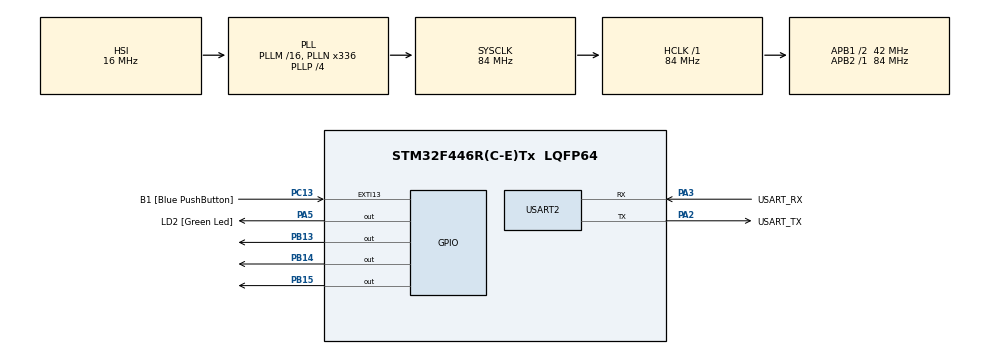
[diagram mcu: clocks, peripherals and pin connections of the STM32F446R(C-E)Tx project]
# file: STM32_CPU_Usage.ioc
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FREERTOS.Tasks01=defaultTask,0,128,StartDefaultTask,Default,NULL,Dynamic,NULL,NULL
FREERTOS.configUSE_NEWLIB_REENTRANT=1
Mcu.Family=STM32F4
Mcu.Name=STM32F446R(C-E)Tx
Mcu.Package=LQFP64
NVIC.PriorityGroup=NVIC_PRIORITYGROUP_4
NVIC.TIM2_IRQn=true\:5\:0\:false\:false\:true\:true\:true\:true\:true
NVIC.TIM6_DAC_IRQn=true\:15\:0\:false\:false\:true\:false\:false\:true\:true
NVIC.TimeBase=TIM6_DAC_IRQn
NVIC.TimeBaseIP=TIM6
PA13.GPIO_Label=TMS
PA13.Signal=SYS_JTMS-SWDIO
PA14.GPIO_Label=TCK
PA14.Signal=SYS_JTCK-SWCLK
PA2.GPIO_Label=USART_TX
PA2.Mode=Asynchronous
PA2.Signal=USART2_TX
PA3.GPIO_Label=USART_RX
PA3.Mode=Asynchronous
PA3.Signal=USART2_RX
PA5.GPIO_Label=LD2 [Green Led]
PA5.Signal=GPIO_Output
PB13.Signal=GPIO_Output
PB14.Signal=GPIO_Output
PB15.Signal=GPIO_Output
PB3.GPIO_Label=SWO
PB3.Signal=SYS_JTDO-SWO
PC13.GPIO_Label=B1 [Blue PushButton]
PC13.GPIO_ModeDefaultEXTI=GPIO_MODE_IT_FALLING
PC13.Signal=GPXTI13
PC14-OSC32_IN.Signal=RCC_OSC32_IN
PC15-OSC32_OUT.Signal=RCC_OSC32_OUT
PH0-OSC_IN.Signal=RCC_OSC_IN
PH1-OSC_OUT.Signal=RCC_OSC_OUT
ProjectManager.HeapSize=0x200
ProjectManager.StackSize=0x400
ProjectManager.TargetToolchain=STM32CubeIDE
RCC.AHBFreq_Value=84000000
RCC.APB1CLKDivider=RCC_HCLK_DIV2
RCC.APB1Freq_Value=42000000
RCC.APB1TimFreq_Value=84000000
RCC.APB2Freq_Value=84000000
RCC.APB2TimFreq_Value=84000000
RCC.CortexFreq_Value=84000000
RCC.FLatency-AdvancedSettings=FLASH_LATENCY_2
RCC.HCLKFreq_Value=84000000
RCC.HSE_VALUE=8000000
RCC.HSI_VALUE=16000000
RCC.LSE_VALUE=32768
RCC.PLLN=336
RCC.PLLP=RCC_PLLP_DIV4
RCC.SYSCLKFreq_VALUE=84000000
RCC.SYSCLKSource=RCC_SYSCLKSOURCE_PLLCLK
RCC.USBFreq_Value=168000000
RCC.VCOOutputFreq_Value=336000000
TIM2.Channel-Output\ Compare1\ No\ Output=TIM_CHANNEL_1
TIM2.Prescaler=83
USART2.VirtualMode=VM_ASYNC
VP_FREERTOS_VS_CMSIS_V1.Mode=CMSIS_V1
VP_SYS_VS_tim6.Mode=TIM6
VP_TIM2_VS_no_output1.Mode=Output Compare1 No Output
board=NUCLEO-F446RE

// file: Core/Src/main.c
/* USER CODE BEGIN Header */
/**
  ******************************************************************************
  * @file           : main.c
  * @brief          : Main program body
  ******************************************************************************
  * @attention
  *
  * Copyright (c) 2025 STMicroelectronics.
  * All rights reserved.
  *
  * This software is licensed under terms that can be found in the LICENSE file
  * in the root directory of this software component.
  * If no LICENSE file comes with this software, it is provided AS-IS.
  *
  ******************************************************************************
  */
/* USER CODE END Header */

#include "main.h"
#include "cmsis_os.h"

/* USER CODE BEGIN Includes */

#include <stdio.h>
#include <stdio.h>
#include <stdlib.h>
#include <string.h>
#include <stdbool.h>
#include <inttypes.h>
#include "CPU_usage.h"

//this is a small change
/* USER CODE END Includes */

TIM_HandleTypeDef htim2;

UART_HandleTypeDef huart2;

osThreadId defaultTaskHandle;
/* USER CODE BEGIN PV */
volatile uint32_t ulHighFrequencyTimerTicks = 0;
/* USER CODE END PV */

void SystemClock_Config(void);
static void MX_GPIO_Init(void);
static void MX_TIM2_Init(void);
static void MX_USART2_UART_Init(void);
void StartDefaultTask(void const * argument);

/* USER CODE BEGIN PFP */
void dummy_task(void *arg);
void custom_user_printf(char *received_json);
void configureTimerForRunTimeStats(void);
uint32_t getRunTimeCounterValue(void);
/* USER CODE END PFP */

int main(void)
{

  /* USER CODE BEGIN 1 */

	BaseType_t status;

  /* USER CODE END 1 */

  /* MCU Configuration--------------------------------------------------------*/

  /* Reset of all peripherals, Initializes the Flash interface and the Systick. */
  HAL_Init();

  /* Configure the system clock */
  SystemClock_Config();

  /* Initialize all configured peripherals */
  MX_GPIO_Init();
  MX_TIM2_Init();
  MX_USART2_UART_Init();
  /* USER CODE BEGIN 2 */

//  vTaskStartScheduler();

  /* USER CODE END 2 */

  /* Create the thread(s) */
  /* definition and creation of defaultTask */
  osThreadDef(defaultTask, StartDefaultTask, osPriorityNormal, 0, 128);
  defaultTaskHandle = osThreadCreate(osThread(defaultTask), NULL);

  /* USER CODE BEGIN RTOS_THREADS */
  /* add threads, ... */
  CPU_usage_start(custom_user_printf);

  status = xTaskCreate(dummy_task, "dummy task", 128, NULL, 2, NULL);
  configASSERT(status == pdPASS);

  /* USER CODE END RTOS_THREADS */

  /* Start scheduler */
  osKernelStart();

  /* We should never get here as control is now taken by the scheduler */

  /* Infinite loop */
  while (1)
  {

  }
}

void SystemClock_Config(void)
{
  RCC_OscInitTypeDef RCC_OscInitStruct = {0};
  RCC_ClkInitTypeDef RCC_ClkInitStruct = {0};

  /** Configure the main internal regulator output voltage
  */
  __HAL_RCC_PWR_CLK_ENABLE();
  __HAL_PWR_VOLTAGESCALING_CONFIG(PWR_REGULATOR_VOLTAGE_SCALE3);

  /** Initializes the RCC Oscillators according to the specified parameters
  * in the RCC_OscInitTypeDef structure.
  */
  RCC_OscInitStruct.OscillatorType = RCC_OSCILLATORTYPE_HSI;
  RCC_OscInitStruct.HSIState = RCC_HSI_ON;
  RCC_OscInitStruct.HSICalibrationValue = RCC_HSICALIBRATION_DEFAULT;
  RCC_OscInitStruct.PLL.PLLState = RCC_PLL_ON;
  RCC_OscInitStruct.PLL.PLLSource = RCC_PLLSOURCE_HSI;
  RCC_OscInitStruct.PLL.PLLM = 16;
  RCC_OscInitStruct.PLL.PLLN = 336;
  RCC_OscInitStruct.PLL.PLLP = RCC_PLLP_DIV4;
  RCC_OscInitStruct.PLL.PLLQ = 2;
  RCC_OscInitStruct.PLL.PLLR = 2;
  if (HAL_RCC_OscConfig(&RCC_OscInitStruct) != HAL_OK)
  {
    Error_Handler();
  }

  /** Initializes the CPU, AHB and APB buses clocks
  */
  RCC_ClkInitStruct.ClockType = RCC_CLOCKTYPE_HCLK|RCC_CLOCKTYPE_SYSCLK
                              |RCC_CLOCKTYPE_PCLK1|RCC_CLOCKTYPE_PCLK2;
  RCC_ClkInitStruct.SYSCLKSource = RCC_SYSCLKSOURCE_PLLCLK;
  RCC_ClkInitStruct.AHBCLKDivider = RCC_SYSCLK_DIV1;
  RCC_ClkInitStruct.APB1CLKDivider = RCC_HCLK_DIV2;
  RCC_ClkInitStruct.APB2CLKDivider = RCC_HCLK_DIV1;

  if (HAL_RCC_ClockConfig(&RCC_ClkInitStruct, FLASH_LATENCY_2) != HAL_OK)
  {
    Error_Handler();
  }
}

static void MX_TIM2_Init(void)
{

  TIM_MasterConfigTypeDef sMasterConfig = {0};
  TIM_OC_InitTypeDef sConfigOC = {0};

  htim2.Instance = TIM2;
  htim2.Init.Prescaler = 83;
  htim2.Init.CounterMode = TIM_COUNTERMODE_UP;
  htim2.Init.Period = 4294967295;
  htim2.Init.ClockDivision = TIM_CLOCKDIVISION_DIV1;
  htim2.Init.AutoReloadPreload = TIM_AUTORELOAD_PRELOAD_DISABLE;
  if (HAL_TIM_OC_Init(&htim2) != HAL_OK)
  {
    Error_Handler();
  }
  sMasterConfig.MasterOutputTrigger = TIM_TRGO_RESET;
  sMasterConfig.MasterSlaveMode = TIM_MASTERSLAVEMODE_DISABLE;
  if (HAL_TIMEx_MasterConfigSynchronization(&htim2, &sMasterConfig) != HAL_OK)
  {
    Error_Handler();
  }
  sConfigOC.OCMode = TIM_OCMODE_TIMING;
  sConfigOC.Pulse = 0;
  sConfigOC.OCPolarity = TIM_OCPOLARITY_HIGH;
  sConfigOC.OCFastMode = TIM_OCFAST_DISABLE;
  if (HAL_TIM_OC_ConfigChannel(&htim2, &sConfigOC, TIM_CHANNEL_1) != HAL_OK)
  {
    Error_Handler();
  }

}

static void MX_USART2_UART_Init(void)
{

  huart2.Instance = USART2;
  huart2.Init.BaudRate = 115200;
  huart2.Init.WordLength = UART_WORDLENGTH_8B;
  huart2.Init.StopBits = UART_STOPBITS_1;
  huart2.Init.Parity = UART_PARITY_NONE;
  huart2.Init.Mode = UART_MODE_TX_RX;
  huart2.Init.HwFlowCtl = UART_HWCONTROL_NONE;
  huart2.Init.OverSampling = UART_OVERSAMPLING_16;
  if (HAL_UART_Init(&huart2) != HAL_OK)
  {
    Error_Handler();
  }

}

static void MX_GPIO_Init(void)
{
  GPIO_InitTypeDef GPIO_InitStruct = {0};

  /* GPIO Ports Clock Enable */
  __HAL_RCC_GPIOC_CLK_ENABLE();
  __HAL_RCC_GPIOH_CLK_ENABLE();
  __HAL_RCC_GPIOA_CLK_ENABLE();
  __HAL_RCC_GPIOB_CLK_ENABLE();

  /*Configure GPIO pin Output Level */
  HAL_GPIO_WritePin(LD2_GPIO_Port, LD2_Pin, GPIO_PIN_RESET);

  /*Configure GPIO pin Output Level */
  HAL_GPIO_WritePin(GPIOB, GPIO_PIN_13|GPIO_PIN_14|GPIO_PIN_15, GPIO_PIN_RESET);

  /*Configure GPIO pin : B1_Pin */
  GPIO_InitStruct.Pin = B1_Pin;
  GPIO_InitStruct.Mode = GPIO_MODE_IT_FALLING;
  GPIO_InitStruct.Pull = GPIO_NOPULL;
  HAL_GPIO_Init(B1_GPIO_Port, &GPIO_InitStruct);

  /*Configure GPIO pin : LD2_Pin */
  GPIO_InitStruct.Pin = LD2_Pin;
  GPIO_InitStruct.Mode = GPIO_MODE_OUTPUT_PP;
  GPIO_InitStruct.Pull = GPIO_NOPULL;
  GPIO_InitStruct.Speed = GPIO_SPEED_FREQ_LOW;
  HAL_GPIO_Init(LD2_GPIO_Port, &GPIO_InitStruct);

  /*Configure GPIO pins : PB13 PB14 PB15 */
  GPIO_InitStruct.Pin = GPIO_PIN_13|GPIO_PIN_14|GPIO_PIN_15;
  GPIO_InitStruct.Mode = GPIO_MODE_OUTPUT_PP;
  GPIO_InitStruct.Pull = GPIO_NOPULL;
  GPIO_InitStruct.Speed = GPIO_SPEED_FREQ_LOW;
  HAL_GPIO_Init(GPIOB, &GPIO_InitStruct);

}

/* USER CODE BEGIN 4 */

void dummy_task(void *arg)
{
  while(1)
  {

    vTaskDelay(pdMS_TO_TICKS(1000));

  }
}

void custom_user_printf(char *received_json)
{
	HAL_UART_Transmit(&huart2, (uint8_t *)received_json, strlen(received_json), HAL_MAX_DELAY);
	const char newline[] = "\r\n";
	HAL_UART_Transmit(&huart2, (uint8_t *)newline, strlen(newline), HAL_MAX_DELAY);
//    printf("%s\n", received_json);
}

void configureTimerForRunTimeStats(void)
{
    /* Configure TIM2 as a free-running counter at 1 MHz */
    HAL_TIM_Base_Start_IT(&htim2);
}

uint32_t getRunTimeCounterValue(void)
{
    return __HAL_TIM_GET_COUNTER(&htim2);
}
/* USER CODE END 4 */

void StartDefaultTask(void const * argument)
{
  for(;;)
  {
    osDelay(1);
  }
}

void HAL_TIM_PeriodElapsedCallback(TIM_HandleTypeDef *htim)
{
  if (htim->Instance == TIM6)
  {
    HAL_IncTick();
  }
  /* USER CODE BEGIN Callback 1 */
  if (htim->Instance == TIM2)
  {
	  ulHighFrequencyTimerTicks++;
  }
  /* USER CODE END Callback 1 */
}

void Error_Handler(void)
{
  __disable_irq();
  while (1)
  {
  }
}
